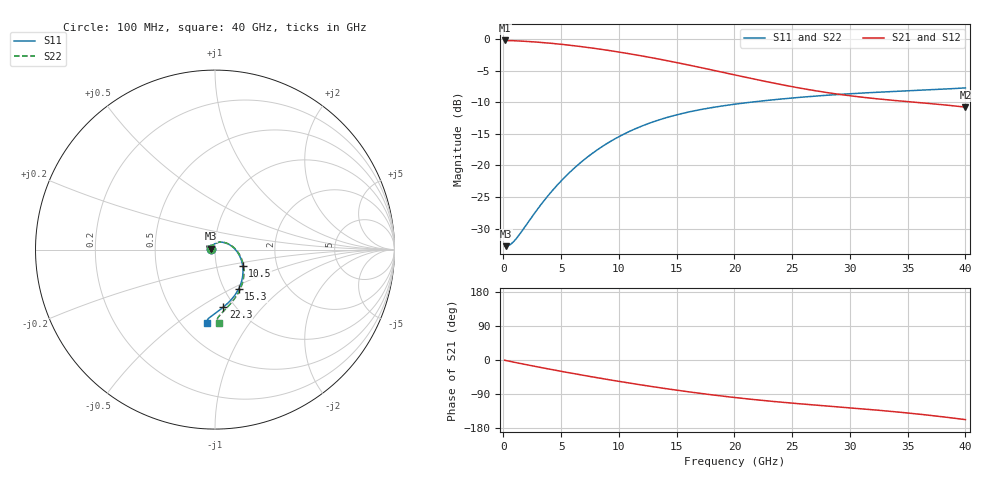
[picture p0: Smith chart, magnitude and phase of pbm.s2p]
! D_s8_stitch_2p0: physics-based via model (prototype), ports at the via
# Hz S RI R 50
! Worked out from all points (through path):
!   400 points, 100 MHz to 40 GHz, reference 50 ohm
!   highest |S21| = -0.21 dB at 100 MHz (marker M1); lowest = -10.8 dB at 40 GHz (marker M2)
!   group delay of S21, straight-line fit = 10.2 ps
!   lowest |S11| = -32.8 dB at 200 MHz (marker M3), VSWR 1.05, Z = 47.8 + j0.478 ohm
!   |S11| at or under -10 dB: start of sweep to 21.34 GHz
!   |S22| runs from -32.8 to -7.7 dB; largest |S21 - S12| = 0
!   S11 on the Smith chart (normalised r, x): 100 MHz: 0.96, +0.00; 10.5 GHz: 1.34, -0.25; 15.3 GHz: 1.17, -0.55; 22.3 GHz: 0.89, -0.63; 40 GHz: 0.66, -0.65
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1e8  -0.0228 0.00259  0.9766 -0.0113  0.9766 -0.0113  -0.0228 0.00259
2e8  -0.0224 0.005  0.9761 -0.0224  0.9761 -0.0224  -0.0224 0.00498
6e8  -0.0194 0.0136  0.9718 -0.0659  0.9718 -0.0659  -0.0194 0.0135
1.1e9  -0.0136 0.0225  0.9627 -0.1183  0.9627 -0.1183  -0.0137 0.0224
2.1e9  0.00266 0.035  0.934 -0.217  0.934 -0.217  0.00238 0.035
3.1e9  0.0232 0.0409  0.8932 -0.3076  0.8932 -0.3076  0.0227 0.0412
4e9  0.0438 0.0405  0.8478 -0.3812  0.8478 -0.3812  0.0432 0.0412
4.9e9  0.0651 0.0348  0.7957 -0.4469  0.7957 -0.4469  0.0644 0.0361
6.8e9  0.1074 0.00662  0.6697 -0.5576  0.6697 -0.5576  0.1072 0.00947
8.6e9  0.1375 -0.036  0.5398 -0.6271  0.5398 -0.6271  0.1386 -0.0314
1.05e10  0.154 -0.0902  0.4019 -0.6654  0.4019 -0.6654  0.1575 -0.0838
1.19e10  0.1557 -0.1313  0.3049 -0.6732  0.3049 -0.6732  0.1616 -0.124
1.34e10  0.1491 -0.173  0.2086 -0.6653  0.2086 -0.6653  0.1579 -0.165
1.53e10  0.1317 -0.219  0.1017 -0.6363  0.1017 -0.6363  0.1445 -0.2108
1.77e10  0.1025 -0.2645  -0.00602 -0.5794  -0.00602 -0.5794  0.1204 -0.2569
2.01e10  0.0723 -0.2975  -0.0834 -0.5127  -0.0834 -0.5127  0.0952 -0.291
2.23e10  0.0469 -0.3201  -0.1319 -0.4518  -0.1319 -0.4518  0.0743 -0.3149
2.43e10  0.0264 -0.3364  -0.1619 -0.4009  -0.1619 -0.4009  0.0578 -0.3325
2.67e10  0.00504 -0.3523  -0.1867 -0.3477  -0.1867 -0.3477  0.0413 -0.35
2.99e10  -0.0181 -0.3687  -0.2104 -0.2889  -0.2104 -0.2889  0.0244 -0.3684
3.34e10  -0.0353 -0.3822  -0.2339 -0.2327  -0.2339 -0.2327  0.014 -0.3837
4e10  -0.0436 -0.4088  -0.2671 -0.1117  -0.2671 -0.1117  0.0196 -0.4108
